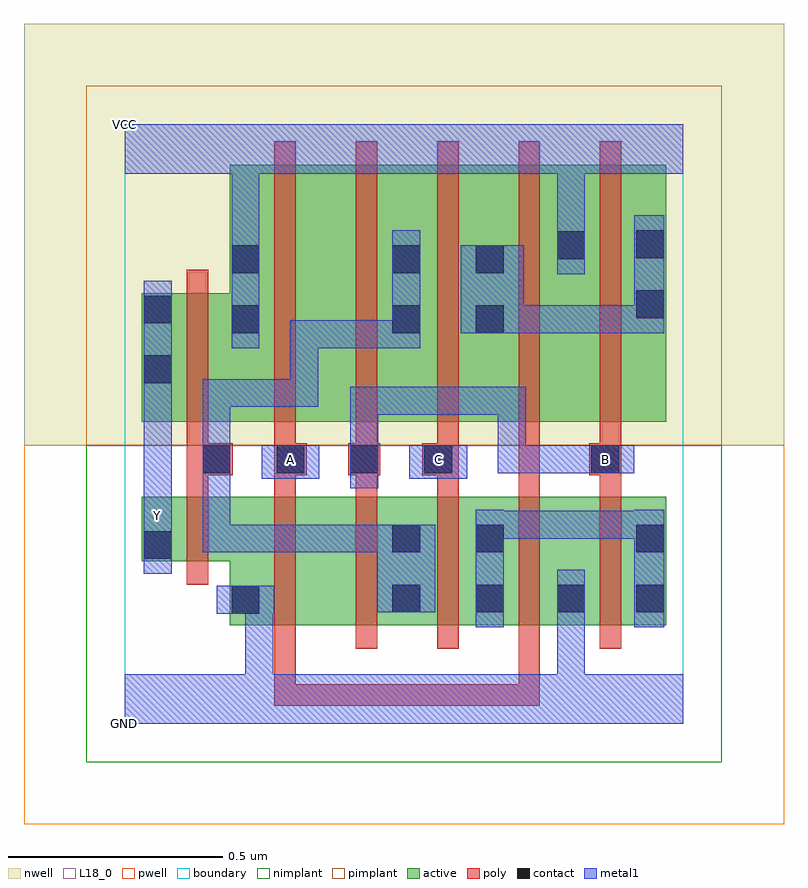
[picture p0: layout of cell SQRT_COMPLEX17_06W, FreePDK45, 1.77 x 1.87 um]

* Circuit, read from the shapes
.subckt SQRT_COMPLEX17_06W A B C GND VCC Y
M1 GND n1 Y VSUBS nfet w=0.15u l=0.05u
M2 n2 A GND VSUBS nfet w=0.3u l=0.05u
M3 n1 B n2 VSUBS nfet w=0.3u l=0.05u
M4 n3 C n1 VSUBS nfet w=0.3u l=0.05u
M5 GND A n3 VSUBS nfet w=0.3u l=0.05u
M6 n3 B GND VSUBS nfet w=0.3u l=0.05u
M7 VCC n1 Y n4 pfet w=0.3u l=0.05u
M8 n5 A VCC n4 pfet w=0.6u l=0.05u
M9 n1 B n5 n4 pfet w=0.6u l=0.05u
M10 n6 C n1 n4 pfet w=0.6u l=0.05u
M11 VCC A n6 n4 pfet w=0.6u l=0.05u
M12 n6 B VCC n4 pfet w=0.6u l=0.05u
.ends

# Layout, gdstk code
import gdstk
lib = gdstk.Library(unit=1e-6, precision=1e-09)
def R(c, l, rs):  # rectangles x0, y0, x1, y1
    for r in rs: c.add(gdstk.rectangle(r[:2], r[2:], *l))
def A(c, l, x, y, w, h, nx, ny, dx, dy):  # array of equal rectangles
    R(c, l, [(x+i*dx, y+j*dy, x+i*dx+w, y+j*dy+h) for i in range(nx) for j in range(ny)])
active = (1, 0)
pwell = (2, 0)
nwell = (3, 0)
nimplant = (4, 0)
pimplant = (5, 0)
poly = (9, 0)
contact = (10, 0)
metal1 = (11, 0)
L18_0 = (18, 0)
boundary = (235, 0)

sqrt_complex17_06w = lib.new_cell('SQRT_COMPLEX17_06W')
R(sqrt_complex17_06w, active, [(0.245,0.23,0.47,0.53), (0.245,0.23,0.32,0.38), (0.47,0.23,0.695,0.53), (0.62,0.23,0.695,0.517), (0.62,0.23,0.89,0.53), (0.815,0.23,0.89,0.517), (0.815,0.23,1.08,0.53), (1.005,0.23,1.265,0.53), (1.005,0.23,1.08,0.517), (1.19,0.235,1.265,0.53), (0.04,0.38,0.115,0.53), (0.04,0.38,0.32,0.53), (0.04,0.705,0.32,1.005), (0.04,0.705,0.115,1.005), (0.245,0.705,0.47,1.305), (0.47,0.705,0.695,1.305), (0.62,0.705,0.89,1.305), (0.815,0.705,1.08,1.305), (1.005,0.705,1.265,1.305), (1.19,0.705,1.265,1.2), (0.62,0.707,0.695,1.2), (0.815,0.707,0.89,1.2), (1.005,0.707,1.08,1.305), (0.245,0.747,0.32,1.305)])
R(sqrt_complex17_06w, pwell, [(-0.235,-0.235,1.54,0.65)])
R(sqrt_complex17_06w, nwell, [(-0.235,0.65,1.54,1.635)])
R(sqrt_complex17_06w, nimplant, [(-0.09,-0.09,1.395,0.65)])
R(sqrt_complex17_06w, pimplant, [(-0.09,0.65,1.395,1.49)])
A(sqrt_complex17_06w, poly, 0.35, 0.175, 0.05, 0.41, 5, 1, 0.19, 0)
A(sqrt_complex17_06w, poly, 0.35, 0.535, 0.05, 0.095, 5, 1, 0.19, 0)
A(sqrt_complex17_06w, poly, 0.35, 0.605, 0.05, 0.095, 3, 1, 0.19, 0)
A(sqrt_complex17_06w, poly, 0.35, 0.65, 0.05, 0.71, 5, 1, 0.19, 0)
R(sqrt_complex17_06w, poly, [(0.35,0.042,0.4,0.092), (0.35,0.042,0.4,0.092), (0.35,0.042,0.4,0.092), (0.35,0.042,0.4,0.225), (0.35,0.042,0.612,0.092), (0.562,0.042,0.612,0.092), (0.562,0.042,0.837,0.092), (0.787,0.042,0.837,0.092), (0.787,0.042,0.837,0.092), (0.787,0.042,0.837,0.092), (0.787,0.042,0.97,0.092), (0.92,0.042,0.97,0.092), (0.92,0.042,0.97,0.092), (0.92,0.042,0.97,0.092), (0.92,0.042,0.97,0.225), (0.145,0.325,0.195,0.585), (0.145,0.535,0.195,0.63), (0.145,0.58,0.252,0.655), (0.35,0.58,0.425,0.655), (0.522,0.58,0.597,0.655), (0.695,0.58,0.78,0.655), (0.92,0.58,0.97,0.7), (0.92,0.58,0.97,0.63), (1.085,0.58,1.16,0.655), (0.145,0.605,0.195,0.7), (1.11,0.605,1.16,0.7), (0.145,0.65,0.195,1.06)])
R(sqrt_complex17_06w, contact, [(0.25,0.257,0.315,0.322), (0.625,0.26,0.69,0.325), (0.82,0.26,0.885,0.325), (1.01,0.26,1.075,0.325), (1.195,0.26,1.26,0.325), (0.045,0.385,0.11,0.45), (0.625,0.4,0.69,0.465), (0.82,0.4,0.885,0.465), (1.195,0.4,1.26,0.465), (0.182,0.585,0.247,0.65), (0.355,0.585,0.42,0.65), (0.527,0.585,0.592,0.65), (0.7,0.585,0.765,0.65), (1.09,0.585,1.155,0.65), (0.045,0.795,0.11,0.86), (0.25,0.912,0.315,0.977), (0.625,0.912,0.69,0.977), (0.82,0.912,0.885,0.977), (0.045,0.935,0.11,1), (1.195,0.947,1.26,1.012), (0.25,1.052,0.315,1.117), (0.625,1.052,0.69,1.117), (0.82,1.052,0.885,1.117), (1.01,1.085,1.075,1.15), (1.195,1.087,1.26,1.152)])
R(sqrt_complex17_06w, metal1, [(0,0,1.305,0.115), (0.282,0.05,0.347,0.115), (0.282,0.05,0.347,0.115), (0.282,0.05,0.347,0.322), (1.01,0.05,1.075,0.115), (1.01,0.05,1.075,0.115), (1.01,0.05,1.075,0.115), (1.01,0.05,1.075,0.115), (1.01,0.05,1.075,0.29), (0.82,0.225,0.885,0.5), (1.01,0.225,1.075,0.36), (1.19,0.225,1.26,0.5), (0.215,0.257,0.35,0.322), (0.282,0.257,0.347,0.322), (0.282,0.257,0.347,0.322), (0.59,0.26,0.725,0.465), (0.045,0.35,0.11,0.485), (0.182,0.4,0.247,0.465), (0.182,0.4,0.385,0.465), (0.182,0.4,0.247,0.685), (0.32,0.4,0.385,0.465), (0.32,0.4,0.385,0.465), (0.32,0.4,0.385,0.465), (0.32,0.4,0.592,0.465), (0.527,0.4,0.592,0.465), (0.527,0.4,0.655,0.465), (0.045,0.42,0.11,0.485), (0.045,0.42,0.11,0.555), (0.82,0.432,0.937,0.497), (0.872,0.432,0.937,0.497), (0.872,0.432,1.117,0.497), (1.052,0.432,1.117,0.497), (1.052,0.432,1.255,0.497), (1.19,0.432,1.255,0.497), (1.19,0.432,1.255,0.497), (0.045,0.49,0.11,0.825), (0.182,0.55,0.247,0.685), (0.527,0.55,0.592,0.685), (0.32,0.572,0.455,0.65), (0.665,0.572,0.8,0.65), (0.872,0.585,0.937,0.65), (0.872,0.585,0.937,0.65), (0.872,0.585,0.937,0.65), (0.872,0.585,1.117,0.65), (0.872,0.585,0.937,0.787), (1.052,0.585,1.117,0.65), (1.052,0.585,1.12,0.65), (1.055,0.585,1.19,0.65), (0.182,0.62,0.247,0.685), (0.182,0.62,0.247,0.685), (0.182,0.62,0.247,0.805), (0.527,0.62,0.592,0.685), (0.527,0.62,0.592,0.685), (0.527,0.62,0.592,0.787), (0.527,0.722,0.592,0.787), (0.527,0.722,0.73,0.787), (0.665,0.722,0.73,0.787), (0.665,0.722,0.937,0.787), (0.872,0.722,0.937,0.787), (0.182,0.74,0.247,0.805), (0.182,0.74,0.452,0.805), (0.387,0.74,0.452,0.805), (0.387,0.74,0.452,0.805), (0.387,0.74,0.452,0.805), (0.387,0.74,0.452,0.942), (0.045,0.76,0.11,1.035), (0.25,0.877,0.315,1.152), (0.387,0.877,0.452,0.942), (0.387,0.877,0.592,0.942), (0.527,0.877,0.592,0.942), (0.527,0.877,0.69,0.942), (0.625,0.877,0.69,1.152), (0.785,0.912,0.932,1.117), (0.867,0.912,0.937,0.977), (0.872,0.912,0.937,0.977), (0.872,0.912,1.117,0.977), (1.052,0.912,1.117,0.977), (1.052,0.912,1.117,0.977), (1.052,0.912,1.117,0.977), (1.052,0.912,1.255,0.977), (1.19,0.912,1.255,0.977), (1.19,0.912,1.255,0.977), (1.19,0.912,1.26,1.187), (1.01,1.05,1.075,1.185), (0.25,1.087,0.315,1.35), (1.01,1.12,1.075,1.35), (0,1.285,1.305,1.4)])
R(sqrt_complex17_06w, L18_0, [(0,0,1.305,0.115), (0.282,0.05,0.347,0.115), (0.282,0.05,0.347,0.115), (0.282,0.05,0.347,0.322), (1.01,0.05,1.075,0.115), (1.01,0.05,1.075,0.115), (1.01,0.05,1.075,0.115), (1.01,0.05,1.075,0.115), (1.01,0.05,1.075,0.29), (1.01,0.225,1.075,0.36), (0.215,0.257,0.35,0.322), (0.282,0.257,0.347,0.322), (0.282,0.257,0.347,0.322), (0.045,0.35,0.11,0.485), (0.045,0.42,0.11,0.555), (0.045,0.42,0.11,0.485), (0.045,0.455,0.11,0.52), (0.045,0.49,0.11,0.825), (0.527,0.55,0.592,0.685), (0.32,0.572,0.455,0.65), (0.665,0.572,0.8,0.65), (0.355,0.585,0.42,0.65), (0.7,0.585,0.765,0.65), (0.872,0.585,0.937,0.65), (0.872,0.585,0.937,0.65), (0.872,0.585,0.937,0.65), (0.872,0.585,0.937,0.787), (0.872,0.585,1.117,0.65), (1.052,0.585,1.117,0.65), (1.052,0.585,1.12,0.65), (1.055,0.585,1.19,0.65), (1.09,0.585,1.155,0.65), (0.527,0.62,0.592,0.685), (0.527,0.62,0.592,0.685), (0.527,0.62,0.592,0.787), (0.527,0.722,0.592,0.787), (0.527,0.722,0.73,0.787), (0.665,0.722,0.73,0.787), (0.665,0.722,0.937,0.787), (0.872,0.722,0.937,0.787), (0.045,0.76,0.11,1.035), (0.25,0.877,0.315,1.152), (1.01,1.05,1.075,1.185), (0.25,1.087,0.315,1.35), (1.01,1.12,1.075,1.35), (0,1.285,1.305,1.4)])
R(sqrt_complex17_06w, boundary, [(0,0,1.305,1.4)])
sqrt_complex17_06w.add(gdstk.Label('A', (0.387,0.617), layer=11, texttype=0))
sqrt_complex17_06w.add(gdstk.Label('B', (1.122,0.617), layer=11, texttype=0))
sqrt_complex17_06w.add(gdstk.Label('C', (0.732,0.617), layer=11, texttype=0))
sqrt_complex17_06w.add(gdstk.Label('Y', (0.077,0.487), layer=11, texttype=0))
sqrt_complex17_06w.add(gdstk.Label('VCC', (0,1.4), layer=11, texttype=0))
sqrt_complex17_06w.add(gdstk.Label('GND', (0,0), layer=11, texttype=0))

lib.write_gds('SQRT_COMPLEX17_06W.gds')
